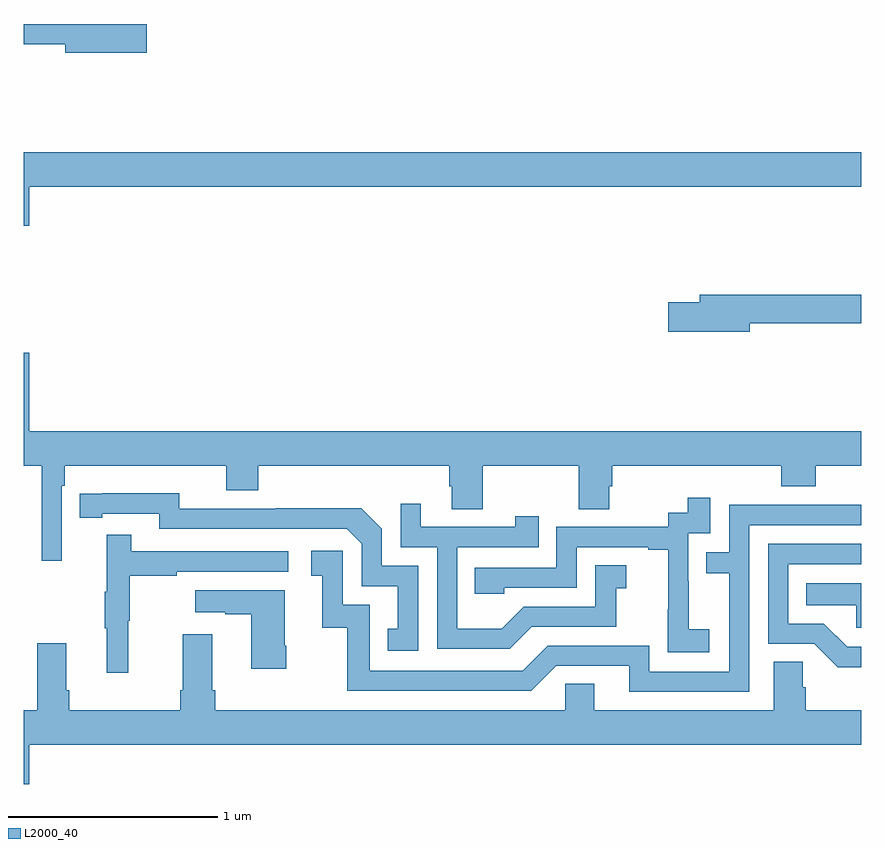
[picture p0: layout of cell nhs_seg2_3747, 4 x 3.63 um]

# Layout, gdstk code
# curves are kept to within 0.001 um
import gdstk
lib = gdstk.Library(unit=1e-6, precision=1e-09)
def P(c, l, *ps):  # polygons
    for p in ps: c.add(gdstk.Polygon(p, *l))
L2000_40 = (2000, 40)

nhs_seg2_3747 = lib.new_cell('nhs_seg2_3747')
P(nhs_seg2_3747, L2000_40, [(309.589,593.8),(309,593.8),(309,593.704),(309.2,593.704),(309.2,593.662),(309.589,593.662)],
  [(309.028,593.024),(313,593.024),(313,593.188),(309,593.188),(309,592.836),(309.028,592.836)],
  [(312.466,592.372),(313,592.372),(313,592.508),(312.227,592.508),(312.227,592.472),(312.078,592.472),(312.078,592.33),(312.466,592.33)],
  [(309.028,592.231),(309,592.231),(309,591.692),(309.086,591.692),(309.086,591.237),(309.183,591.237),(309.183,591.596),(309.197,591.596),(309.197,591.692),(309.968,591.692),(309.968,591.575),(310.121,591.575),(310.121,591.692),(311.033,591.692),(311.033,591.594),(311.045,591.594),(311.045,591.484),(311.193,591.484),(311.193,591.692),(311.65,591.692),(311.65,591.484),(311.797,591.484),(311.797,591.594),(311.81,591.594),(311.81,591.692),(312.617,591.692),(312.617,591.593),(312.782,591.593),(312.782,591.692),(313,591.692),(313,591.856),(309.028,591.856)],
  [(310.884,591.213),(310.71,591.213),(310.71,591.39),(310.612,591.488),(310.204,591.488),(310.204,591.486),(309.744,591.486),(309.744,591.559),(309.268,591.558),(309.268,591.442),(309.376,591.442),(309.376,591.462),(309.648,591.462),(309.648,591.39),(310.542,591.39),(310.614,591.318),(310.614,591.117),(310.787,591.117),(310.787,590.913),(310.738,590.913),(310.738,590.808),(310.884,590.808)],
  [(312.274,590.911),(312.176,590.911),(312.176,591.14),(312.174,591.14),(312.174,591.369),(312.279,591.369),(312.279,591.538),(312.171,591.538),(312.171,591.468),(312.078,591.468),(312.078,591.399),(311.544,591.399),(311.544,591.204),(311.155,591.204),(311.155,591.081),(311.295,591.081),(311.295,591.108),(311.64,591.108),(311.64,591.303),(311.981,591.303),(311.981,591.291),(312.077,591.291),(312.077,591.007),(312.076,591.007),(312.076,590.801),(312.274,590.801)],
  [(311.425,590.922),(311.829,590.922),(311.829,591.107),(311.878,591.107),(311.878,591.217),(311.73,591.217),(311.73,591.018),(311.388,591.018),(311.284,590.914),(311.07,590.914),(311.07,591.303),(311.459,591.303),(311.459,591.451),(311.348,591.451),(311.348,591.399),(310.897,591.399),(310.897,591.511),(310.8,591.511),(310.8,591.303),(310.974,591.303),(310.974,590.817),(311.32,590.817)],
  [(312.465,591.408),(313,591.408),(313,591.506),(312.865,591.506),(312.865,591.504),(312.369,591.504),(312.369,591.279),(312.259,591.279),(312.259,591.178),(312.369,591.178),(312.369,590.709),(311.988,590.709),(311.988,590.832),(311.502,590.832),(311.382,590.712),(310.653,590.712),(310.653,591.027),(310.524,591.027),(310.524,591.286),(310.374,591.286),(310.374,591.165),(310.427,591.165),(310.427,590.919),(310.545,590.919),(310.545,590.616),(311.424,590.616),(311.544,590.736),(311.891,590.736),(311.891,590.613),(312.465,590.613)],
  [(309.5,590.952),(309.508,590.952),(309.508,591.166),(309.731,591.166),(309.731,591.186),(310.264,591.186),(310.264,591.282),(309.515,591.282),(309.515,591.361),(309.398,591.361),(309.398,591.089),(309.387,591.089),(309.387,590.915),(309.398,590.915),(309.398,590.703),(309.5,590.703)],
  [(313,590.826),(312.931,590.826),(312.82,590.937),(312.651,590.937),(312.651,591.222),(313,591.222),(313,591.318),(312.555,591.318),(312.555,590.841),(312.774,590.841),(312.887,590.729),(313,590.729)],
  [(313,591.13),(312.736,591.13),(312.736,591.026),(312.975,591.026),(312.975,590.918),(313,590.918)],
  [(310.254,590.833),(310.246,590.833),(310.246,591.097),(309.819,591.097),(309.819,590.993),(309.962,590.993),(309.962,590.983),(310.088,590.983),(310.088,590.721),(310.254,590.721)],
  [(312.581,590.756),(312.581,590.524),(311.725,590.524),(311.725,590.651),(311.586,590.651),(311.586,590.524),(309.914,590.524),(309.914,590.62),(309.901,590.62),(309.901,590.887),(309.761,590.887),(309.761,590.62),(309.749,590.62),(309.749,590.524),(309.218,590.524),(309.218,590.62),(309.205,590.62),(309.205,590.845),(309.065,590.845),(309.065,590.524),(309,590.524),(309,590.172),(309.028,590.172),(309.028,590.36),(313,590.36),(313,590.524),(312.734,590.524),(312.734,590.633),(312.72,590.633),(312.72,590.756)])

lib.write_gds('nhs_seg2_3747.gds')
